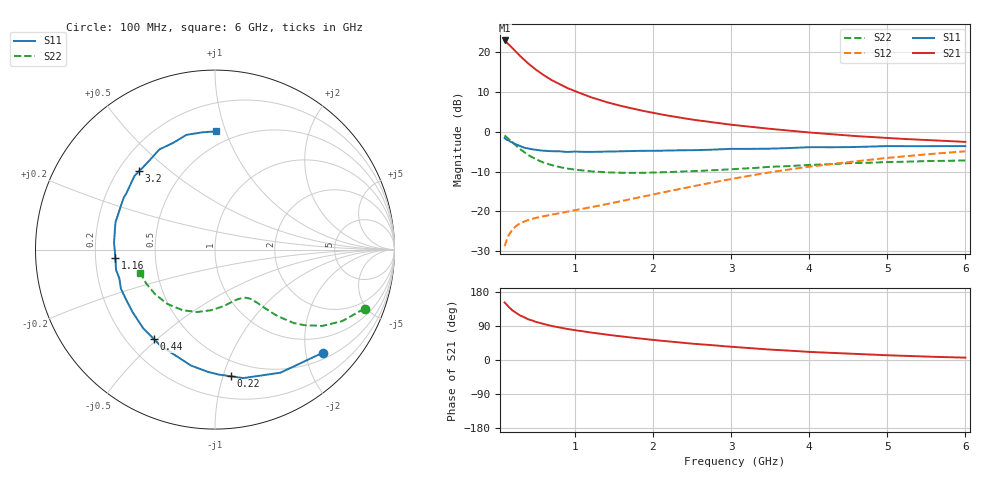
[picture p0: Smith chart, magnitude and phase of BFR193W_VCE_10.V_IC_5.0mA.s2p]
! Infineon Technologies  Discrete & RF Semiconductors
! BFR193W
! VCE =  10. V,  IC =  5.0 mA
! Common Emitter S-Parameters:  Nov 2015
# GHz  S  MA  R  50
!  f  S11  S21  S12  S22
! GHz  MAG  ANG  MAG  ANG  MAG  ANG  MAG  ANG
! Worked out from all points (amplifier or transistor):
!   192 points, 100 MHz to 6 GHz, reference 50 ohm
!   highest |S21| = 22.8 dB at 100 MHz (marker M1)
!   |S21| within 3 dB of that: start of sweep to 254.3 MHz
!   unconditionally stable (mu >= 1): 1.233 GHz to 2.61 GHz
!   at 440 MHz: K = 0.50, MSG = 19.2 dB, |S12| = -21.9 dB
!   at 1.7 GHz: K = 1.06, MAG = 9.9 dB, |S12| = -17.0 dB
!   at 6 GHz: K = 0.88, MSG = 1.2 dB, |S12| = -4.9 dB
!   S11 on the Smith chart (normalised r, x): 100 MHz: 0.63, -2.36; 220 MHz: 0.37, -1.07; 440 MHz: 0.31, -0.49; 1.16 GHz: 0.28, -0.04; 3.2 GHz: 0.28, +0.39; 6 GHz: 0.40, +0.92
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0.1  0.8319 -43.6  13.88 151.9  0.0367 67.8  0.8955 -21.5
0.15  0.7766 -62.0  12.5 140.3  0.0499 59.7  0.8125 -29.4
0.2  0.7332 -77.5  11.16 130.9  0.0592 53.7  0.7327 -35.5
0.22  0.7119 -82.7  10.64 128.1  0.062 51.8  0.7027 -37.1
0.26  0.6834 -93.0  9.7 122.4  0.0672 48.6  0.6473 -40.5
0.3  0.66 -101.6  8.848 117.3  0.0712 46.5  0.6017 -42.9
0.4  0.6159 -119.5  7.17 107.6  0.078 42.8  0.5106 -46.7
0.44  0.6034 -124.5  6.683 105.1  0.08 42.4  0.4865 -47.5
0.5  0.5936 -132.3  5.98 100.6  0.083 41.8  0.4505 -48.8
0.6  0.5764 -142.7  5.113 94.9  0.0872 41.7  0.4085 -50.4
0.7  0.5684 -150.7  4.436 89.9  0.0911 42.6  0.3805 -51.4
0.9  0.5564 -163.3  3.529 82.0  0.0992 45.4  0.3444 -53.4
1.1  0.5583 -172.7  2.958 75.9  0.1079 48.5  0.3259 -56.1
1.16  0.5571 -175.3  2.808 74.0  0.1107 49.4  0.3209 -56.9
1.5  0.5639 173.1  2.209 64.5  0.1288 54.4  0.3065 -62.6
2.08  0.5763 157.2  1.661 51.4  0.1693 60.4  0.3084 -73.7
2.5  0.5846 147.9  1.416 43.1  0.205 62.3  0.3193 -82.2
3.1  0.6076 135.8  1.192 33.5  0.265 61.9  0.3417 -96.2
3.2  0.6078 134.0  1.164 32.1  0.2761 61.4  0.3459 -98.8
4.1  0.6373 117.5  0.959 20.5  0.3738 55.6  0.3851 -120.9
5.1  0.6575 102.5  0.821 11.8  0.4782 46.7  0.4171 -145.3
6  0.6585 89.7  0.744 6.2  0.567 37.3  0.4358 -162.9
